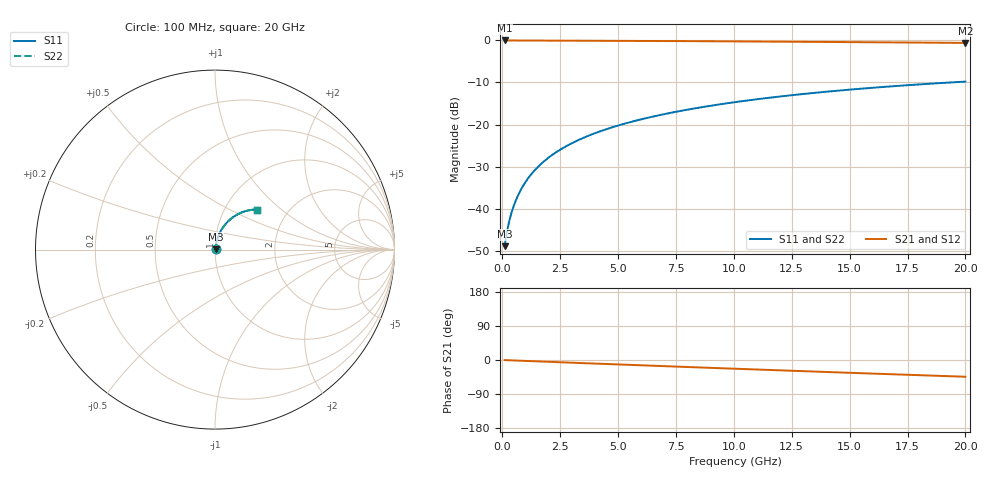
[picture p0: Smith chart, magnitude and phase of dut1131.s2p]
! Touchstone file exported from HFSS 2026.1.0
!  File:  C:/ffzhzh/LocalFiles/Ansys_Project_Files/temp_train_TMRDL_1131_1783161770_55132.aedt
!  Generated:  06:44:07 PM Jul  4, 2026
!  Design:  TMRDL
!  Project:  temp_train_TMRDL_1131_1783161770_55132
! Variables:
!  h_bsmrdl = 2um
!  h_ox = 20um
!  h_rdl = 5um
!  h_sub = 80um
!  h_tmrdl = 5.15um
!  h_tsv = 80um
!  h_via = 3um
!  l_bsmrdl = 300um
!  l_sub = 1111.81um
!  l_tmrdl = 711.81um
!  m_sub = 200um
!  pitch = 36.3um
!  r_tsv = 6um
!  s_tmrdl = 10um
!  w_bsmrdl = 18um
!  w_sub = 500um
!  w_tmrdl = 18.46um
!  x_tsv_center1 = 721.04um
!  x_tsv_center2 = 1039.04um
!  x_tsv_center3 = 1769.31um
!  x_tsv_center4 = 2087.31um
!  x_tsv_center5 = 2817.58um
!  x_tsv_center6 = 3135.58um
# GHz S MA R 50.000000
! Terminal data exported
! Port[1] = TM_RDL1_1_T1
! Port[2] = TM_RDL1_1_T2
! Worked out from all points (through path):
!   200 points, 100 MHz to 20 GHz, reference 50 ohm
!   highest |S21| = -0.02 dB at 100 MHz (marker M1); lowest = -0.6 dB at 20 GHz (marker M2)
!   group delay of S21, straight-line fit = 6.13 ps
!   lowest |S11| = -48.8 dB at 100 MHz (marker M3), VSWR 1.01, Z = 50.3 + j0.228 ohm
!   |S11| at or under -10 dB: start of sweep to 19.33 GHz
!   |S22| runs from -48.8 to -9.8 dB; largest |S21 - S12| = 4e-15
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0.1  0.003611 38.8  0.9972 -0.3  0.9972 -0.3  0.003611 38.8
! Gamma 0 0 0 0
! Port Impedance 50 0 50 0
0.2  0.005328 55.4  0.997 -0.5  0.997 -0.5  0.005328 55.4
0.3  0.007174 63.3  0.9968 -0.7  0.9968 -0.7  0.007174 63.3
0.4  0.009058 68.0  0.9967 -1.0  0.9967 -1.0  0.009058 68.0
0.5  0.01097 71.2  0.9966 -1.2  0.9966 -1.2  0.01097 71.2
0.6  0.01291 73.3  0.9965 -1.5  0.9965 -1.5  0.01291 73.3
0.8  0.01683 76.1  0.9964 -1.9  0.9964 -1.9  0.01683 76.1
1.1  0.02278 78.1  0.9961 -2.6  0.9961 -2.6  0.02278 78.1
1.3  0.02675 78.7  0.9958 -3.1  0.9958 -3.1  0.02675 78.7
1.6  0.03271 79.1  0.9955 -3.8  0.9955 -3.8  0.03271 79.1
2.1  0.04258 79.0  0.9947 -5.0  0.9947 -5.0  0.04258 79.0
2.7  0.05428 78.3  0.9936 -6.4  0.9936 -6.4  0.05429 78.3
3.5  0.06961 77.0  0.9918 -8.3  0.9918 -8.3  0.06962 77.0
4.2  0.08277 75.7  0.9902 -9.9  0.9902 -9.9  0.08278 75.6
5  0.09754 74.1  0.9881 -11.7  0.9881 -11.7  0.09754 74.0
5.9  0.1138 72.2  0.9856 -13.8  0.9856 -13.8  0.1138 72.2
6.8  0.1298 70.4  0.983 -15.8  0.983 -15.8  0.1298 70.4
8.3  0.1557 67.3  0.9783 -19.2  0.9783 -19.2  0.1557 67.3
10.1  0.1857 63.6  0.9722 -23.2  0.9722 -23.2  0.1857 63.6
13.4  0.237 56.8  0.9598 -30.4  0.9598 -30.4  0.237 56.8
16.7  0.2833 50.1  0.9463 -37.4  0.9463 -37.4  0.2833 50.1
20  0.3241 43.6  0.9327 -44.2  0.9327 -44.2  0.3241 43.5
